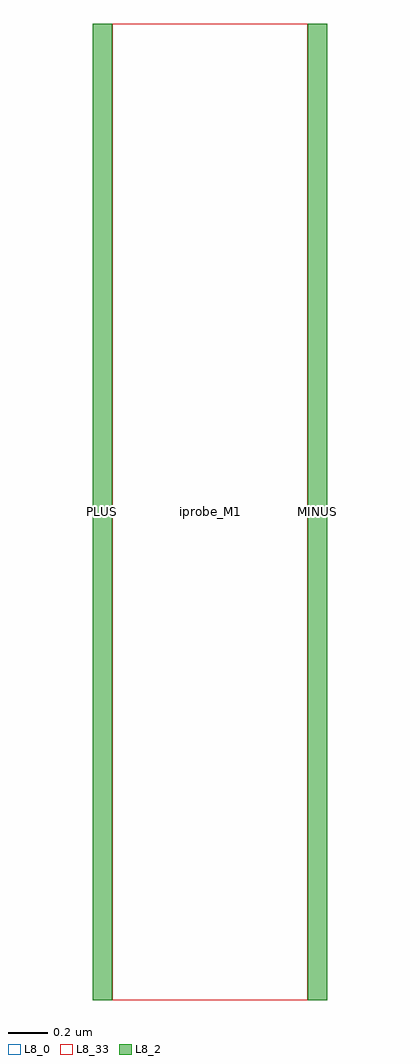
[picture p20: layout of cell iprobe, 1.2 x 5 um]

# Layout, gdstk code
import gdstk
lib = gdstk.Library(unit=1e-6, precision=1e-09)
def R(c, l, rs):  # rectangles x0, y0, x1, y1
    for r in rs: c.add(gdstk.rectangle(r[:2], r[2:], *l))
L8_0 = (8, 0)
L8_2 = (8, 2)
L8_33 = (8, 33)

iprobe = lib.new_cell('iprobe')
R(iprobe, L8_2, [(-0.6,0,-0.5,5), (-0.6,0,-0.5,5), (0.5,0,0.6,5), (0.5,0,0.6,5)])
iprobe.add(gdstk.FlexPath([(0,0),(0,5)], 1.2, ends="flush", simple_path=True, layer=8, datatype=0))  # L8_0
iprobe.add(gdstk.FlexPath([(0,0),(0,5)], 1.2, ends="flush", simple_path=True, layer=8, datatype=0))  # L8_0
iprobe.add(gdstk.FlexPath([(0,0),(0,5)], 1, ends="flush", simple_path=True, layer=8, datatype=33))  # L8_33
iprobe.add(gdstk.FlexPath([(0,0),(0,5)], 1, ends="flush", simple_path=True, layer=8, datatype=33))  # L8_33
iprobe.add(gdstk.Label('MINUS', (0.55,2.5), layer=63, texttype=0))
iprobe.add(gdstk.Label('PLUS', (-0.55,2.5), layer=63, texttype=0))
iprobe.add(gdstk.Label('iprobe_M1', (0,2.5), layer=63, texttype=0))
iprobe.add(gdstk.Label('PLUS', (-0.55,2.5), layer=63, texttype=0))
iprobe.add(gdstk.Label('MINUS', (0.55,2.5), layer=63, texttype=0))
iprobe.add(gdstk.Label('MINUS', (0.55,2.5), layer=63, texttype=0))
iprobe.add(gdstk.Label('PLUS', (-0.55,2.5), layer=63, texttype=0))
iprobe.add(gdstk.Label('iprobe_M1', (0,2.5), layer=63, texttype=0))
iprobe.add(gdstk.Label('PLUS', (-0.55,2.5), layer=63, texttype=0))
iprobe.add(gdstk.Label('MINUS', (0.55,2.5), layer=63, texttype=0))

lib.write_gds('iprobe.gds')
